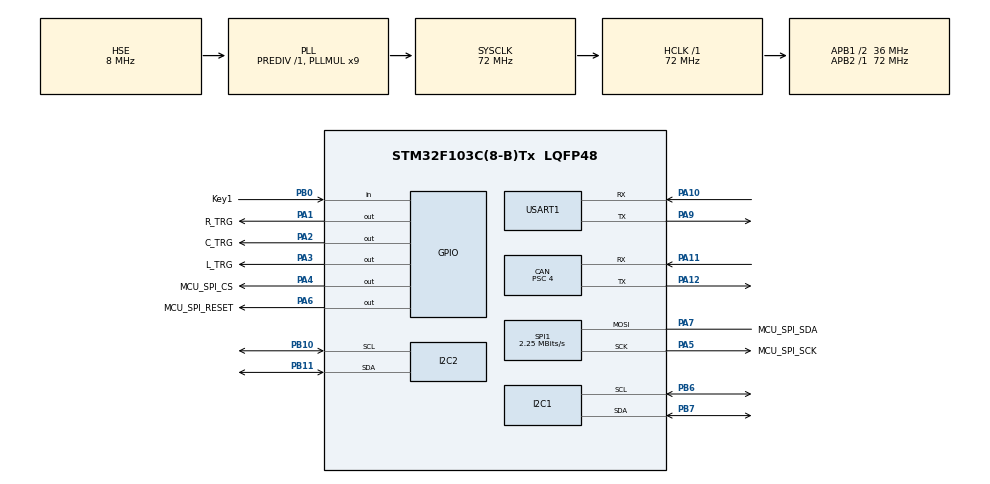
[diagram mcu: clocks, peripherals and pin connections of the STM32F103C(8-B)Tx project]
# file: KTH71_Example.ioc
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CAN.AWUM=ENABLE
CAN.BS1=CAN_BS1_3TQ
CAN.BS2=CAN_BS2_5TQ
CAN.CalculateBaudRate=1000000
CAN.CalculateTimeBit=1000
CAN.CalculateTimeQuantum=111.11111111111111
CAN.Prescaler=4
CAN.SJW=CAN_SJW_2TQ
Dma.Request0=USART1_RX
Dma.Request1=USART1_TX
Dma.USART1_RX.0.Direction=DMA_PERIPH_TO_MEMORY
Dma.USART1_RX.0.Instance=DMA1_Channel5
Dma.USART1_RX.0.MemDataAlignment=DMA_MDATAALIGN_BYTE
Dma.USART1_RX.0.MemInc=DMA_MINC_ENABLE
Dma.USART1_RX.0.Mode=DMA_CIRCULAR
Dma.USART1_RX.0.PeriphDataAlignment=DMA_PDATAALIGN_BYTE
Dma.USART1_RX.0.PeriphInc=DMA_PINC_DISABLE
Dma.USART1_RX.0.Priority=DMA_PRIORITY_HIGH
Dma.USART1_TX.1.Direction=DMA_MEMORY_TO_PERIPH
Dma.USART1_TX.1.Instance=DMA1_Channel4
Dma.USART1_TX.1.MemDataAlignment=DMA_MDATAALIGN_BYTE
Dma.USART1_TX.1.MemInc=DMA_MINC_ENABLE
Dma.USART1_TX.1.Mode=DMA_NORMAL
Dma.USART1_TX.1.PeriphDataAlignment=DMA_PDATAALIGN_BYTE
Dma.USART1_TX.1.PeriphInc=DMA_PINC_DISABLE
Dma.USART1_TX.1.Priority=DMA_PRIORITY_MEDIUM
I2C1.I2C_Mode=I2C_Fast
I2C2.I2C_Mode=I2C_Fast
Mcu.Family=STM32F1
Mcu.Name=STM32F103C(8-B)Tx
Mcu.Package=LQFP48
NVIC.DMA1_Channel4_IRQn=true\:0\:0\:false\:false\:true\:false\:true\:true
NVIC.DMA1_Channel5_IRQn=true\:0\:0\:false\:false\:true\:false\:true\:true
NVIC.PriorityGroup=NVIC_PRIORITYGROUP_4
NVIC.TIM2_IRQn=true\:0\:0\:false\:false\:true\:true\:true\:true
NVIC.TIM3_IRQn=true\:0\:0\:false\:false\:true\:true\:true\:true
NVIC.USART1_IRQn=true\:0\:0\:false\:false\:true\:true\:true\:true
NVIC.USB_LP_CAN1_RX0_IRQn=true\:0\:0\:false\:false\:true\:true\:true\:true
PA1.GPIO_Label=R_TRG
PA1.GPIO_Speed=GPIO_SPEED_FREQ_MEDIUM
PA1.Signal=GPIO_Output
PA10.Mode=Asynchronous
PA10.Signal=USART1_RX
PA11.Mode=CAN_Activate
PA11.Signal=CAN_RX
PA12.Mode=CAN_Activate
PA12.Signal=CAN_TX
PA13.Mode=Serial_Wire
PA13.Signal=SYS_JTMS-SWDIO
PA14.Mode=Serial_Wire
PA14.Signal=SYS_JTCK-SWCLK
PA2.GPIO_Label=C_TRG
PA2.GPIO_Speed=GPIO_SPEED_FREQ_MEDIUM
PA2.Signal=GPIO_Output
PA3.GPIO_Label=L_TRG
PA3.GPIO_Speed=GPIO_SPEED_FREQ_MEDIUM
PA3.Signal=GPIO_Output
PA4.GPIO_Label=MCU_SPI_CS
PA4.GPIO_PuPd=GPIO_PULLUP
PA4.GPIO_Speed=GPIO_SPEED_FREQ_HIGH
PA4.PinState=GPIO_PIN_SET
PA4.Signal=GPIO_Output
PA5.GPIO_Label=MCU_SPI_SCK
PA5.Mode=Simplex_Bidirectional_Master
PA5.Signal=SPI1_SCK
PA6.GPIO_Label=MCU_SPI_RESET
PA6.GPIO_Speed=GPIO_SPEED_FREQ_LOW
PA6.Signal=GPIO_Output
PA7.GPIO_Label=MCU_SPI_SDA
PA7.Mode=Simplex_Bidirectional_Master
PA7.Signal=SPI1_MOSI
PA9.Mode=Asynchronous
PA9.Signal=USART1_TX
PB0.GPIO_Label=Key1
PB0.GPIO_PuPd=GPIO_PULLUP
PB0.Signal=GPIO_Input
PB10.Mode=I2C
PB10.Signal=I2C2_SCL
PB11.Mode=I2C
PB11.Signal=I2C2_SDA
PB6.Mode=I2C
PB6.Signal=I2C1_SCL
PB7.Mode=I2C
PB7.Signal=I2C1_SDA
PD0-OSC_IN.Mode=HSE-External-Oscillator
PD0-OSC_IN.Signal=RCC_OSC_IN
PD1-OSC_OUT.Mode=HSE-External-Oscillator
PD1-OSC_OUT.Signal=RCC_OSC_OUT
ProjectManager.HeapSize=0x200
ProjectManager.StackSize=0x400
ProjectManager.TargetToolchain=MDK-ARM V5
RCC.AHBFreq_Value=72000000
RCC.APB1CLKDivider=RCC_HCLK_DIV2
RCC.APB1Freq_Value=36000000
RCC.APB1TimFreq_Value=72000000
RCC.APB2Freq_Value=72000000
RCC.APB2TimFreq_Value=72000000
RCC.HCLKFreq_Value=72000000
RCC.PLLMUL=RCC_PLL_MUL9
RCC.PLLSourceVirtual=RCC_PLLSOURCE_HSE
RCC.SYSCLKFreq_VALUE=72000000
RCC.SYSCLKSource=RCC_SYSCLKSOURCE_PLLCLK
RCC.USBFreq_Value=72000000
SPI1.BaudRatePrescaler=SPI_BAUDRATEPRESCALER_32
SPI1.CLKPhase=SPI_PHASE_2EDGE
SPI1.CLKPolarity=SPI_POLARITY_HIGH
SPI1.CalculateBaudRate=2.25 MBits/s
SPI1.Direction=SPI_DIRECTION_1LINE
SPI1.Mode=SPI_MODE_MASTER
SPI1.VirtualType=VM_MASTER
TIM2.Period=7200-1
TIM2.Prescaler=333
TIM3.Period=7200-1
TIM3.Prescaler=200-1
USART1.VirtualMode=VM_ASYNC
VP_TIM2_VS_ClockSourceINT.Mode=Internal
VP_TIM3_VS_ClockSourceINT.Mode=Internal
board=custom

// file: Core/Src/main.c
/* USER CODE BEGIN Header */
/**
  ******************************************************************************
  * @file           : main.c
  * @brief          : Main program body
  ******************************************************************************
  * @attention
  *
  * Copyright (c) 2025 STMicroelectronics.
  * All rights reserved.
  *
  * This software is licensed under terms that can be found in the LICENSE file
  * in the root directory of this software component.
  * If no LICENSE file comes with this software, it is provided AS-IS.
  *
  ******************************************************************************
  */
/* USER CODE END Header */
#include "main.h"
#include "can.h"
#include "dma.h"
#include "i2c.h"
#include "spi.h"
#include "tim.h"
#include "usart.h"
#include "gpio.h"

/* USER CODE BEGIN Includes */
#include "pid.h"
#include <stdio.h>    //第一步重定向
#include "kth71xx.h"
#include "tactile.h"
#include "stdlib.h"
#include "RWflash.h"
#include "stm32f1xx_it.h"

/* USER CODE END Includes */

/* USER CODE BEGIN PTD */
int32_t volatile MG4005MotorInit = 0;
uint32_t Calibration_angle;
int8_t volatile Key_State;		//触碰开关的状态  默认是1
uint8_t i2c1_state;
float saved_value;
uint32_t time_Inc;
uint32_t uid[3];
char  msg[50];
uint16_t len ;
uint8_t zero_found = 0;
int32_t last_angle_for_stall = 0;
uint16_t can_recv_count = 0;  // CAN接收计数
uint8_t motor_has_moved = 0;  // 电机是否已经已经运动过
int32_t MG4005MotorMax = 0;
uint8_t max_found = 0;
uint32_t stall_start_time = 0;
uint32_t stall_count = 0;  // 改成uint32_t
//int32_t tim3_interrupt_count;
//int32_t last_systick_count;
//float measured_frequency;
//uint8_t measurement_ready;

/* USER CODE END PTD */

/* USER CODE BEGIN PD */

// 初始化DWT
void DWT_Init(void) {
    CoreDebug->DEMCR |= CoreDebug_DEMCR_TRCENA_Msk;
    DWT->CYCCNT = 0;
    DWT->CTRL |= DWT_CTRL_CYCCNTENA_Msk;
}

// 获取微秒数
uint32_t Get_Microseconds(void) {
    return DWT->CYCCNT / (HAL_RCC_GetSysClockFreq() / 1000000);
}

/* USER CODE END PD */

void SystemClock_Config(void);

int main(void)
{

  /* MCU Configuration--------------------------------------------------------*/

  /* Reset of all peripherals, Initializes the Flash interface and the Systick. */
  HAL_Init();

  /* Configure the system clock */
  SystemClock_Config();

  /* Initialize all configured peripherals */
  MX_GPIO_Init();
  MX_DMA_Init();
  MX_SPI1_Init();			// 磁编码器
  MX_USART1_UART_Init();
  MX_CAN_Init();			// 电机通信
  MX_I2C1_Init();			// 触觉传感器
  MX_TIM3_Init();			// 50Hz主任务定时器
  MX_I2C2_Init();			// 触觉传感器
  MX_TIM2_Init();			// 30Hz相机触发定时器
  /* USER CODE BEGIN 2 */
	HAL_TIM_Base_Start_IT(&htim3);	//定时器任务，50HZ
	HAL_TIM_Base_Start_IT(&htim2);	//相机脉冲 30HZ

	MG4005MotorInit = 0;
ALLflag.MG_Reset = 0;      // 先不置1，等找到零点
ALLflag.MG_Key_RST = 0;
ALLflag.Motor_able = 1;
 zero_found = 0;
	// 启动UART DMA接收
	HAL_UART_Receive_DMA(&huart1, rxBuffer, RX_BUFFER_SIZE);
	// 使能IDLE中断
	__HAL_UART_ENABLE_IT(&huart1, UART_IT_IDLE);

//	DWT_Init();

	/* 1. 上电时从Flash读取保存的值 */

	/* 使用理论值，不再做软件标定 */
ANGLE_MAX = ANGLE_MAX_INIT;

/******** 启动单字节DMA接收 ，目前不用****/
//	HAL_UART_Receive_DMA(&huart1, &Uart_RxData, 1);
//	// 开启UART全局中断
//	__HAL_UART_ENABLE_IT(&huart1, UART_IT_RXNE);
/**********************************************************************************************************/

  /* USER CODE END 2 */

  /* Infinite loop */
  /* USER CODE BEGIN WHILE */
  while (1)
  {

		pid_init_all();			// 初始化所有PID控制器
		pid_count(); 	//PID运行

/****读取触觉传感器的数据（测试代码，printf会加代码运行时间）******/

//		printf("\r\n00000000000000000000000000000000000000000000\r\n");
//		for(uint16_t i=1;i<=448;i++)
//		{
//				printf("%d  ",TxBuffer_all[i+23]);
//
//			if(i%5 ==0)
//			printf("\r\n");
//		}
//		printf("\r\n00000000000000000000000000000000000000000000\r\n");

//	printf(" %d  %d  %d  %f \r\n",MG4005Motor.iqControl.iq  ,MG4005Motor.Max_Torque_Current ,MG4005Motor.iqControl.speed,PID_4005_speed.out);
		// 主循环中打印测量结果

//    static uint32_t last_print = 0;
//
//    if (measurement_ready && (HAL_GetTick() - last_print > 1000)) {
//        printf("测量频率: %.6f Hz, 误差: %.6f Hz (%.4f%%)\n",
//               measured_frequency,
//               measured_frequency - 50.0f,
//               (measured_frequency - 50.0f) / 50.0f * 100.0f);
//
//        measurement_ready = 0;
//        last_print = HAL_GetTick();
//    }

/**********************************************************************************************************/

/*******磁编码器复位逻辑(电机必须失能，目前不用了)*****/

/**************************************************************************************************************/

/******* 触碰开关 状态读取*****/

static uint8_t printed_once = 0;
    if(max_found == 1 && printed_once == 0)
    {
        printf("\r\n>>> ANGLE_MAX = %d, MotorInit = %d, MotorMax = %d <<<\r\n",
               (int)ANGLE_MAX, (int)MG4005MotorInit, (int)MG4005MotorMax);
        printed_once = 1;
    }

			//Key_State = HAL_GPIO_ReadPin(GPIOB,Key1_Pin);		//读取触碰开关的状态  后续需要加与电机配合的条件
       Key_State = 1;

/**************************************************************************************************************/

/***********UARSTDMA发送（只拿出来了长一点的部分）********************/ \

		if (ALLflag.MCUID_send == 1)
		{
			// 读取设备ID
			uid[0] = HAL_GetUIDw0();
			uid[1] = HAL_GetUIDw1();
			uid[2] = HAL_GetUIDw2();

//			printf("UID is valid: %08lX-%08lX-%08lX\n", uid[2], uid[1], uid[0]);
			len = sprintf(msg, "das\r\n%08lX%08lX%08lXdas\r\n", uid[2], uid[1], uid[0]);
			// 通过DMA发送
			UART_Transmit_DMA((uint8_t*)msg, len );
			ALLflag.MCUID_send = 0;
		}

//暂时屏蔽触觉夹爪数据，客户只需要电机数据

//		if(ALLflag.Tim_50HZ > 100)			// 系统上电2秒后才发送触觉数据			//记得解除注释
//		{

//			crc_tactile_L = tactile_IsCRCOK(rx_buf_L,502);		//验证磁编码器的校验位
//			crc_tactile_R = tactile_IsCRCOK(rx_buf_R,502);
//
//			if(crc_tactile_L == 1)
//			tactile_deal_with(&TxBuffer_all[23],&rx_buf_L[0]);
//			if(crc_tactile_R == 1)
//			tactile_deal_with(&TxBuffer_all[247],&rx_buf_R[0]);
//		}

			// ============ 100Hz 推送电机距离反馈 ============
		if(ALLflag.Tim_50HZ_flag == 1)
		{
			// 填充电机距离反馈数据到 TxBuffer_drive[10..13]
			TxBuffer_drive[10] = MG4005Motor.Txangle.buff[3];
			TxBuffer_drive[11] = MG4005Motor.Txangle.buff[2];
			TxBuffer_drive[12] = MG4005Motor.Txangle.buff[1];
			TxBuffer_drive[13] = MG4005Motor.Txangle.buff[0];

			// 100Hz 推送
			DMA_Send_Packet(TxBuffer_drive, TxBuffer_driveLength);

			ALLflag.Tim_50HZ_flag = 0;
		}

//		if(ALLflag.Tim_50HZ_flag  == 1 &&  ALLflag.Tim_30HZ_flag == 1  && ALLflag.all_send == 1) //50HZ和30HZ读取一次一起了
//		{
////			printf("%X", 0xFF);
//
////			if(time_Inc %50 ==0)
////			printf("%u ms\n",Get_Microseconds());
////			time_Inc++;
//
//			TxBuffer_all[10] =MG4005Motor.Txangle.buff[3];	//电机
//			TxBuffer_all[11] =MG4005Motor.Txangle.buff[2];
//			TxBuffer_all[12] =MG4005Motor.Txangle.buff[1];
//			TxBuffer_all[13] =MG4005Motor.Txangle.buff[0];
//
//			if(crc_tactile_L == 1)
//			tactile_deal_with(&TxBuffer_all[23],&rx_buf_L[0]);
//			if(crc_tactile_R == 1)
//			tactile_deal_with(&TxBuffer_all[247],&rx_buf_R[0]);
//
//			DMA_Send_Packet(TxBuffer_all,TxBuffer_allLength );
//
//
//
//			ALLflag.Tim_50HZ_flag  = 0;
//			ALLflag.Tim_30HZ_flag  = 0;
//		}
//		else if( ALLflag.all_send == 1 )
//		{
//			if(ALLflag.Tim_50HZ_flag  == 1 )	//50HZ读取一次
//			{
////				printf("%X", 0xFD);
//
////				if(time_Inc %50 ==0)
////				printf("%u ms\n",Get_Microseconds());
////				time_Inc++;
//
//				TxBuffer_drive[10] =MG4005Motor.Txangle.buff[3];	//电机
//				TxBuffer_drive[11] =MG4005Motor.Txangle.buff[2];
//				TxBuffer_drive[12] =MG4005Motor.Txangle.buff[1];
//				TxBuffer_drive[13] =MG4005Motor.Txangle.buff[0];
//
//
//
//				DMA_Send_Packet(TxBuffer_drive,TxBuffer_driveLength);
//
//				ALLflag.Tim_50HZ_flag  = 0;
//			}
//			else if(ALLflag.Tim_30HZ_flag == 1 )	//30HZ读取一次
//			{
////				printf("%X", 0xFC);
//
//
//
//				if(crc_tactile_L == 1)
//				tactile_deal_with(&TxBuffer_tactile[10],&rx_buf_L[0]);
//				if(crc_tactile_R == 1)
//				tactile_deal_with(&TxBuffer_tactile[234],&rx_buf_R[0]);
//				DMA_Send_Packet(TxBuffer_tactile,TxBuffer_tactileLength);
//
//				ALLflag.Tim_30HZ_flag  = 0;
//			}
//
//		}

/**********************************************************************************************************/

/************过流检测(优先级大于上位机传递的目标值，为了保护设备)********/

if( can_recv_count > 50 &&
    MG4005Motor.iqControl.temperature != 0 &&
    MG4005Motor.iqControl.iq < -15 &&
    MG4005Motor.speed <= 10 && MG4005Motor.speed >= -10 &&
    abs(MG4005Motor.angle_Inc - last_angle_for_stall) < 5)
{
    if(stall_count == 0)
        stall_start_time = HAL_GetTick();  // 第一次满足条件，记录起始时间
    stall_count++;

    if(zero_found == 0 && (HAL_GetTick() - stall_start_time) > 1000)  // 持续1秒
    {
        MG4005MotorInit = MG4005Motor.angle_Inc;
        ALLflag.MG_Reset = 1;
        zero_found = 1;
        stall_count = 0;
			  stall_start_time = HAL_GetTick();  // ← 加这一行，重置计时
        MG4005Motor.target = MG4005MotorInit + 10000;
    }
    else if(zero_found == 1 && (HAL_GetTick() - stall_start_time) > 1000)
    {
        MG4005Motor.target = MG4005Motor.angle_Inc;
        stall_count = 0;
    }
}
else
{
    stall_count = 0;  // 条件不满足就清零，重新计时
    last_angle_for_stall = MG4005Motor.angle_Inc;
    if( zero_found == 1 &&
    MG4005Motor.iqControl.iq > 150 &&  // 只检测正电流！去掉 iq < -20
    MG4005Motor.speed <= 5 && MG4005Motor.speed >= -5 &&
    (HAL_GetTick() - stall_start_time) > 1000)
    {
       if(max_found == 0)
{
    MG4005MotorMax = MG4005Motor.angle_Inc;
    max_found = 1;
    MG4005Motor.target = MG4005MotorInit;

    // 如果是 CALIB 命令触发的，报告测量结果（不写 Flash）
    if(ALLflag.Auto_Calibration_Cmd == 1)
		{
        int32_t measured_range = MG4005MotorMax - MG4005MotorInit;
        int32_t theoretical_range = (int32_t)ANGLE_MAX_INIT;
        int32_t deviation = measured_range - theoretical_range;

        // 不写 Flash，只报告对比结果给机械同事评估装配质量
        len = sprintf(msg, "das\r\nCHECK_meas%d_theo%d_dev%ddas\r\n",
                     (int)measured_range, (int)theoretical_range, (int)deviation);
        UART_Transmit_DMA((uint8_t*)msg, len);

        ALLflag.Auto_Calibration_Cmd = 0;
			}
	}
//        else
//        {
//            //MG4005Motor.target = MG4005Motor.angle_Inc;
//        }
    }
}

/**********************************************************************************************************/

/*******力矩按键检测复位**********/

		if(ALLflag.Motor_Calibration_Mode == 1)		//标定电机量程
		{

			 Calibration_angle= abs(MG4005Motor.angle_Inc - MG4005MotorInit) ; 	//当遇到校准时使用

			if(ALLflag.MG_Reset == 0)
			{
					if(ALLflag.MG_direction ==0 )	//	向上走
					{
							ALLflag.MG4005_electricity =-60;
							if(Key_State == 0 )
							{
								MG4005MotorInit = MG4005Motor.angle_Inc+800;
								ALLflag.MG_Key_RST2 = 1;
								ALLflag.MG_direction = 1;	//向上走
							}
					}

					if(ALLflag.MG_direction ==1)	//向下走
					{
							if( Key_State == 0 )
							{
								ALLflag.MG4005_electricity =60;
							}
							else
							{
								ALLflag.MG4005_electricity =60;
							}

							if(ALLflag.MG_Key_RST2 == 1 ) 	//为了让电机离开限位点
							{
								if( Key_State == 1)
								{

									MG4005MotorInit = MG4005Motor.angle_Inc+30;
									ALLflag.MG_Key_RST2 = 0 ;

								}
							}
							if(Calibration_angle > ANGLE_MAX_INIT && Calibration_angle<19000)
							{
								if(MG4005Motor.speed< 30 && MG4005Motor.speed >-30)
								{
										ALLflag.MG_Reset = 1;
										ALLflag.MG_direction =0;
										ALLflag.Motor_Calibration_Flag = 1;

								}
							}

					}
			}

			/****将数据保存在flash中******/
			if (ALLflag.MG_Reset == 1 && ALLflag.Motor_Calibration_Mode == 1 && ALLflag.Motor_Calibration_Flag == 1)
			{

				if(ALLflag.Tim_10HZ_Motor2 >15)
				{

					Flash_ErasePage( FLASH_PAGE_63_ADDR );	//擦除指定Flash页
					ALLflag.flash_Write_flag = Flash_WriteFloat(Calibration_angle);
					ANGLE_MAX= Flash_ReadFloat() -ANGLE_OFFSET; //将读取到的值给到最大值
					printf("Calibration OK !");		//校准成功
					ALLflag.Motor_Calibration_Flag = 0;

				}

			}

		}

		if(ALLflag.Motor_Calibration_Mode == 0)
		{
				ALLflag.MG4005_electricity =-60;

//			if(ALLflag.MG_Reset == 0 && ALLflag.Motor_able == 1 && MG4005Motor.iqControl.temperature != 0 )	//开始电机复位流程
//			{
//
//				if( Key_State == 0)
//				{
//					MG4005MotorInit = MG4005Motor.angle_Inc+800;	//测试出来是750
//					MG4005Motor.target = MG4005MotorInit;
//					ALLflag.MG_Key_RST = 1;
//					ALLflag.MG_Reset = 1;	//复位结束
//
//				}
//
//			}
//
//			if(ALLflag.MG_Key_RST == 1 ) 	//为了让电机离开限位点
//			{
//
//				if( Key_State == 1)
//				{
//					MG4005MotorInit = MG4005Motor.angle_Inc+30;
//					ALLflag.MG_Key_RST = 0 ;
//
//				}

//			}
		}

/**************************************************************************************************/

/**********************驱动电机*************************/

// ========= 临时测试：验证电机方向 =========
//CAN_LKMotor_speed(0x141, 30, -7000);  // 正转小力矩
// CAN_LKMotor_speed(0x141, 24, -5000); // 反转（确认方向后换这个）
//goto MOTOR_DRIVE_END;  // 跳过下面所有逻辑
// ==========================================

			if( ALLflag.Motor_Calibration_Mode == 1 )		//标定模式
			{
				if(ALLflag.MG_Reset == 0 )
				{
						CAN_LKMotor_speed(0x141,200,ALLflag.MG4005_electricity*10000);
				}
				if(ALLflag.MG_Reset == 1  || MG4005Motor.iqControl.temperature >80 )	//复位成功		//失能标志位 或者 电机温度保护
				{
					CAN_LKMotor_speed(0x141,1,0);
				}

			}
			else	if( ALLflag.Motor_Calibration_Mode == 0 )	//SDK控制模式
			{
				if( ALLflag.Motor_able == 0  || MG4005Motor.iqControl.temperature >80 )	//失能标志位 或者 电机温度保护
				{
						CAN_LKMotor_speed(0x141,1,0);

				}
				else if(ALLflag.MG_Reset == 0 && ALLflag.Motor_able == 1)
				{
						// 清除PID积分，防止积分饱和
					PID_4005_angle.Integral_err = 0;
					PID_4005_speed.Integral_err = 0;
					CAN_LKMotor_speed(0x141, 150, -18000);  // 力矩100，速度-18000
				}
				else if( ALLflag.Motor_able == 1 && ALLflag.MG_Reset == 1 )
	{
			if(ALLflag.Auto_Calibration_Cmd == 0)
			{
					MG4005Motor.target = MG4005MotorInit + distanceToAngle(MG4005Motor.Txangle.angle_target);
			}

//			// ↓↓↓ 新增：限制最大速度 ↓↓↓
//			int16_t max_speed = 5000;   // 原来可能是 18000 之类，改小让电机变慢
//			if(PID_4005_speed.out > max_speed) PID_4005_speed.out = max_speed;
//			if(PID_4005_speed.out < -max_speed) PID_4005_speed.out = -max_speed;
//    // ↑↑↑ 新增结束 ↑↑↑

			// ===== 力矩可控功能 =====
    // 根据上位机传过来的开关决定用什么扭矩
    int16_t torque_limit;

    if(MG4005Motor.Txangle.buff[9] == 0x01)
    {
        // 上位机启用力矩控制
        // buff[10..11] 是大端 int16，注意字节序
        torque_limit = (int16_t)((MG4005Motor.Txangle.buff[11] << 8) | MG4005Motor.Txangle.buff[10]);

        // 安全限幅，防止上位机传太大的值
        if(torque_limit > 500) torque_limit = 500;   // 上限 500（约 1.67 N·m）
        if(torque_limit < 100) torque_limit = 100;   // 下限 100（约 0.13 N·m）
    }
    else
    {
        // 上位机不控制，用默认 150（约 1 N·m）
        torque_limit = 150;
    }

		CAN_LKMotor_speed(0x141, torque_limit, PID_4005_speed.out);
	}

			}

//			MOTOR_DRIVE_END:;  // 跳转目标

//			HAL_Delay(1);	//延时1000HZ不影响
/**************************************************************************************************/
    /* USER CODE END WHILE */

  }
}

void SystemClock_Config(void)			//  STM32CubeMX自动生成
{
  RCC_OscInitTypeDef RCC_OscInitStruct = {0};
  RCC_ClkInitTypeDef RCC_ClkInitStruct = {0};

  /** Initializes the RCC Oscillators according to the specified parameters
  * in the RCC_OscInitTypeDef structure.
  */
  RCC_OscInitStruct.OscillatorType = RCC_OSCILLATORTYPE_HSE;
  RCC_OscInitStruct.HSEState = RCC_HSE_ON;
  RCC_OscInitStruct.HSEPredivValue = RCC_HSE_PREDIV_DIV1;
  RCC_OscInitStruct.HSIState = RCC_HSI_ON;
  RCC_OscInitStruct.PLL.PLLState = RCC_PLL_ON;
  RCC_OscInitStruct.PLL.PLLSource = RCC_PLLSOURCE_HSE;
  RCC_OscInitStruct.PLL.PLLMUL = RCC_PLL_MUL9;
  if (HAL_RCC_OscConfig(&RCC_OscInitStruct) != HAL_OK)
  {
    Error_Handler();
  }

  /** Initializes the CPU, AHB and APB buses clocks
  */
  RCC_ClkInitStruct.ClockType = RCC_CLOCKTYPE_HCLK|RCC_CLOCKTYPE_SYSCLK
                              |RCC_CLOCKTYPE_PCLK1|RCC_CLOCKTYPE_PCLK2;
  RCC_ClkInitStruct.SYSCLKSource = RCC_SYSCLKSOURCE_PLLCLK;
  RCC_ClkInitStruct.AHBCLKDivider = RCC_SYSCLK_DIV1;
  RCC_ClkInitStruct.APB1CLKDivider = RCC_HCLK_DIV2;
  RCC_ClkInitStruct.APB2CLKDivider = RCC_HCLK_DIV1;

  if (HAL_RCC_ClockConfig(&RCC_ClkInitStruct, FLASH_LATENCY_2) != HAL_OK)
  {
    Error_Handler();
  }
}

/* USER CODE BEGIN 4 */

	//定时器中断
void HAL_TIM_PeriodElapsedCallback(TIM_HandleTypeDef *htim)
{
    if(htim == &htim3)
    {

//        tim3_interrupt_count++;
//
//        // 每50次中断（1秒）测量一次频率
//        if (tim3_interrupt_count % 50 == 0) {
//            uint32_t current_systick = HAL_GetTick();
//            uint32_t elapsed_ms = current_systick - last_systick_count;
//
//            if (elapsed_ms > 0) {
//                measured_frequency = 50.0f / (elapsed_ms / 1000.0f);
//                measurement_ready = 1;
//            }
//
//            last_systick_count = current_systick;
//					}

				ALLflag.Tim_50HZ ++;			// 50Hz计数器递增

				ALLflag.Tim_50HZ_flag = 1;			// 设置50Hz标志位
				if(ALLflag.Tim_50HZ % 5 == 0)			// 10Hz任务
				{
					ALLflag.Tim_10HZ_flag  = 1;

					if(ALLflag.MG_Reset == 1 && ALLflag.Motor_Calibration_Mode == 1 && ALLflag.Motor_Calibration_Flag == 1 )  	//		电机总里程校准
					{
						ALLflag.Tim_10HZ_Motor2++; 			// 复位计时器递增
					}
					else
					{
						ALLflag.Tim_10HZ_Motor2 = 0;			// 清零计时器
					}

				}
    }
		if(htim == &htim2)
    {
			//暂时屏蔽客户不需要

//			if(ALLflag.Tim_50HZ > 100 )	//上电2s内不读取数据
//			{
//				if(HAL_I2C_Master_Receive(&hi2c1, SENSOR_ADDRESS_L, rx_buf_L, 502,1000) == HAL_OK){	i2c1_state = 1;  }		//读取左边触觉传感器的值  在最小系统板上面测不到，需要将触觉传感器屏蔽
//				if(HAL_I2C_Master_Receive(&hi2c2, SENSOR_ADDRESS_R, rx_buf_R, 502,1000) == HAL_OK){	i2c1_state = 1;  }		//读取右边触觉传感器的值
//			}
//

			ALLflag.MG_Can_RST ++;			//CAN通信重启机制
			if(ALLflag.MG_Can_RST >4)
			{

				//ALLflag.MG_Reset = 0;
				//ALLflag.Motor_able = 0; 临时注释
				MX_CAN_Init();
				ALLflag.MG_Can_RST = 0;
			}

			ALLflag.Tim_30HZ_flag = 1 ;

			HAL_GPIO_TogglePin(GPIOA, R_TRG_Pin);	//三个相机的30HZ脉冲
      HAL_GPIO_TogglePin(GPIOA, C_TRG_Pin);
			HAL_GPIO_TogglePin(GPIOA, L_TRG_Pin);
		}
}

/* USER CODE END 4 */

void Error_Handler(void)
{
  __disable_irq();
  while (1)
  {
  }
}
